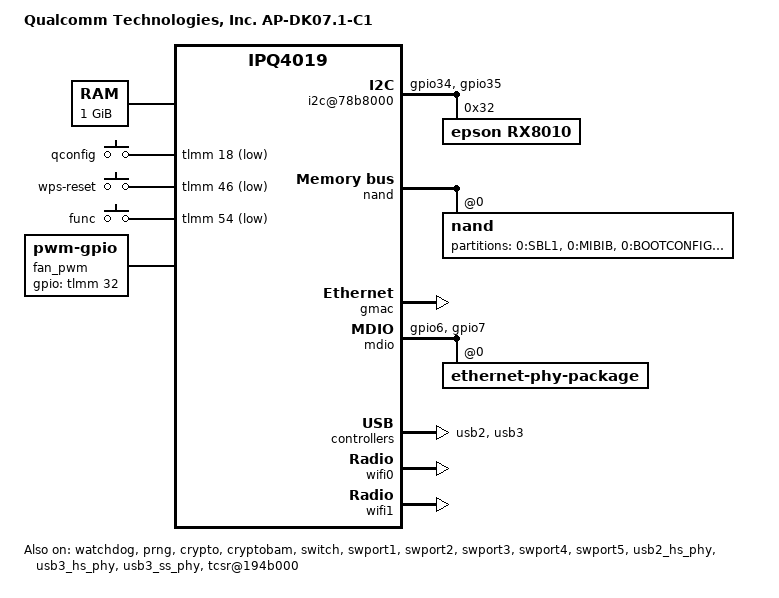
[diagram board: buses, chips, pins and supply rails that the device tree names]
// SPDX-License-Identifier: GPL-2.0-or-later OR MIT
//
// Qualcomm AP-DK07.1-C1 (IPQ4019, 1GB RAM, 256MB NAND)
// Overlay on top of the mainline DK07.1-C1 device tree, based on the
// QCA SDK vendor device tree extracted from the running unit.

#include "qcom-ipq4019-ap.dk07.1-c1.dts"
#include <dt-bindings/gpio/gpio.h>
#include <dt-bindings/input/input.h>
#include <dt-bindings/soc/qcom,tcsr.h>

/ {
	model = "Qualcomm Technologies, Inc. AP-DK07.1-C1";
	compatible = "qcom,ap-dk07.1-c1", "qcom,ipq4019-ap-dk07.1-c1", "qcom,ipq4019";

	memory {
		reg = <0x80000000 0x40000000>; /* 1GB, mainline assumes 512MB */
	};

	soc {
		/*
		 * PCIe is not populated on this unit and the mainline
		 * perst-gpios (GPIO38) conflict with the vendor
		 * func_reset_gpio (GPIO38).
		 */
		pci@40000000 {
			status = "disabled";
		};

		tcsr@1949000 {
			compatible = "qcom,tcsr";
			reg = <0x1949000 0x100>;
			qcom,wifi_glb_cfg = <TCSR_WIFI_GLB_CFG>;
		};

		tcsr@194b000 {
			/* select hostmode */
			compatible = "qcom,tcsr";
			reg = <0x194b000 0x100>;
			qcom,usb-hsphy-mode-select = <TCSR_USB_HSPHY_HOST_MODE>;
			status = "okay";
		};

		ess_tcsr@1953000 {
			compatible = "qcom,tcsr";
			reg = <0x1953000 0x1000>;
			qcom,ess-interface-select = <TCSR_ESS_PSGMII>;
		};

		tcsr@1957000 {
			compatible = "qcom,tcsr";
			reg = <0x1957000 0x100>;
			qcom,wifi_noc_memtype_m0_m2 = <TCSR_WIFI_NOC_MEMTYPE_M0_M2>;
		};

		/* second UART enabled by mainline dk07.1-c1, unused by vendor */
		serial@78b0000 {
			status = "disabled";
		};

		i2c@78b8000 {
			pinctrl-0 = <&i2c_1_pins>;
			pinctrl-names = "default";
			status = "okay";

			rx8010@32 {
				compatible = "epson,rx8010";
				reg = <0x32>;
			};
		};

		keys {
			compatible = "gpio-keys";

			qconfig {
				label = "qconfig";
				gpios = <&tlmm 18 GPIO_ACTIVE_LOW>;
				linux,code = <0x211>; /* vendor keycode */
			};

			wps-reset {
				label = "wps-reset";
				gpios = <&tlmm 46 GPIO_ACTIVE_LOW>;
				linux,code = <0x198>; /* vendor keycode (KEY_WPS_BUTTON) */
			};

			func {
				label = "func";
				gpios = <&tlmm 54 GPIO_ACTIVE_LOW>;
				linux,code = <0x224>; /* vendor keycode */
			};
		};
	};

	/*
	 * 风扇调速。原厂用 SoC audio PWM 驱动 gpio32(audio_pwm2)，
	 * 主线 ipq4019 没有 PWM 驱动，这里用 pwm-gpio 在同一引脚上做软件 PWM，
	 * 由 /usr/sbin/fanctl 写 /sys/class/pwm/.../duty_cycle 控制转速。
	 * pinctrl 默认 output-high：fanctl 起不来时风扇全速，避免过热。
	 */
	fan_pwm: fan-pwm {
		compatible = "pwm-gpio";
		#pwm-cells = <3>;
		pinctrl-names = "default";
		pinctrl-0 = <&fan_pwm_pins>;
		gpios = <&tlmm 32 GPIO_ACTIVE_HIGH>;
	};
};

&tlmm {
	fan_pwm_pins: fan-pwm-pinmux {
		pins = "gpio32";
		function = "gpio";
		drive-strength = <8>;
		bias-disable;
		output-high;
	};

	i2c_1_pins: i2c-1-pinmux {
		pins = "gpio34", "gpio35";
		function = "blsp_i2c1";
		bias-disable;
	};

	mdio_pins: mdio-pinmux {
		mdio {
			pins = "gpio6";
			function = "mdio";
			bias-pull-up;
		};

		mdc {
			pins = "gpio7";
			function = "mdc";
			bias-pull-up;
		};
	};
};

/*
 * NAND partition layout must match the QCA vendor layout / U-Boot.
 *
 * The partitions node has to live inside the controller's NAND chip
 * child node (nand@0, declared in qcom-ipq4019.dtsi). qcom_nandc walks
 * every available child of the controller and reads its "reg" as the
 * chip-select; a bare "partitions" child has no reg, which aborts the
 * whole controller probe with "can't get chip-select" and leaves the
 * system without any MTD device.
 */
&nand {
	nand@0 {
		partitions {
			compatible = "fixed-partitions";
			#address-cells = <1>;
			#size-cells = <1>;

			partition@0 {
				label = "0:SBL1";
				reg = <0x0 0x40000>;
				read-only;
			};

			partition@40000 {
				label = "0:MIBIB";
				reg = <0x40000 0x40000>;
				read-only;
			};

			partition@80000 {
				label = "0:BOOTCONFIG";
				reg = <0x80000 0x40000>;
				read-only;
			};

			partition@c0000 {
				label = "0:BOOTCONFIG1";
				reg = <0xc0000 0x40000>;
				read-only;
			};

			partition@100000 {
				label = "0:QSEE_1";
				reg = <0x100000 0x80000>;
				read-only;
			};

			partition@180000 {
				label = "0:QSEE";
				reg = <0x180000 0x80000>;
				read-only;
			};

			partition@200000 {
				label = "0:CDT_1";
				reg = <0x200000 0x40000>;
				read-only;
			};

			partition@240000 {
				label = "0:CDT";
				reg = <0x240000 0x40000>;
				read-only;
			};

			/*
			 * U-Boot 环境区。上游 DTS 把它标成 read-only，于是内核
			 * （mtd_flags=0x0）拒绝以可写方式打开 /dev/mtd8，fw_setenv
			 * 直接报 Permission denied —— 改 bootcmd 必须先摘掉这个
			 * 标记。节点本身是 0600 root:root，权限仍由 root 控制。
			 */
			partition@280000 {
				label = "0:APPSBLENV";
				reg = <0x280000 0x40000>;
			};

			partition@2c0000 {
				label = "0:ART";
				reg = <0x2c0000 0x40000>;
				read-only;
			};

			partition@300000 {
				label = "0:APPSBL_1";
				reg = <0x300000 0x100000>;
				read-only;
			};

			partition@400000 {
				label = "0:APPSBL";
				reg = <0x400000 0x100000>;
				read-only;
			};

			/* inactive rootfs slot, kept for recovery */
			partition@500000 {
				label = "rootfs_1";
				reg = <0x500000 0x5b00000>;
			};

			/*
			 * UBI 容器：把厂商 rootfs 槽 (0x6000000) 与其后面的 data 槽
			 * (0xbb00000) 合并成一个 159MB 分区。起点必须保持 0x6000000，
			 * 因为 U-Boot 的 bootipq 是 ubi part fs + ubi read kernel 取内核，
			 * 起点变了就找不到 kernel 卷。合并后 rootfs_data 由 63MB 涨到
			 * 约 150MB；厂商放在 data 里的 overlay 会被丢弃。
			 */
			partition@6000000 {
				label = "rootfs";
				reg = <0x6000000 0x9f00000>;
			};

			partition@ff00000 {
				label = "config_user";
				reg = <0xff00000 0x100000>;

				/*
				 * 出厂 MAC 存放处（本机 0x2000 = D0:B6:0A:00:07:8C）。
				 * ART(0:ART) 偏移 0 全是 0xFF、U-Boot 环境里也没有 ethaddr，
				 * 这个 cell 是内核能拿到的唯一真实 MAC。
				 */
				nvmem-layout {
					compatible = "fixed-layout";
					#address-cells = <1>;
					#size-cells = <1>;

					macaddr_config_user: macaddr@2000 {
						reg = <0x2000 0x6>;
					};
				};
			};
		};
	};
};

&blsp_dma {
	status = "okay";
};

&watchdog {
	status = "okay";
};

&prng {
	status = "okay";
};

&crypto {
	status = "okay";
};

&cryptobam {
	status = "okay";
};

/*
 * 内置 5 口交换机。qcom-ipq4019.dtsi 里 gmac / switch / swport1..5 默认全是
 * disabled，不使能则 ipqess 与 qca8k 都不 probe，内核一个以太网接口都不建
 * （只剩 lo 和 phy0-ap0/phy1-ap0），串口里表现为完全没有 eth 或 lan 设备。
 * swport1..4 标签为 lan1..lan4，swport5 标签为 wan，与厂商 bootargs 里
 * switch_wan_bmp=0x20 / switch_lan_bmp=0x1e 的端口划分一致。
 */
&gmac {
	status = "okay";
	/* 真实 MAC 取自 config_user@0x2000，否则 ipqess 会自己造随机地址 */
	nvmem-cells = <&macaddr_config_user>;
	nvmem-cell-names = "mac-address";
};

&switch {
	status = "okay";
};

&swport1 {
	status = "okay";
};

&swport2 {
	status = "okay";
};

&swport3 {
	status = "okay";
};

&swport4 {
	status = "okay";
};

&swport5 {
	status = "okay";
};

/*
 * 交换机 5 个口的 PHY（ethphy0..4）和 PSGMII PHY（psgmiiphy）都挂在
 * mdio 总线下面，mdio 不使能的话端口拿不到 phy-handle。
 *
 * ethphy0..4 是 QCA8075，每个 PHY 有 4 个专用 LED 输出脚（最多驱动 2 颗
 * LED）。主线 qca807x 驱动只有在 PHY 节点下有 "leds" 子节点时才会去写
 * MMD7 的 LED 控制寄存器（0x8074/0x8075 + index*2），没有子节点就完全不
 * 碰这些寄存器 —— 这就是 RJ45 指示灯一直不亮的原因。reg 是 PHY 上的 LED
 * 序号（0/1），若发现点亮的不是想要的灯（如亮成速率灯而不是 link 灯），
 * 把 reg 改成 <1> 即可。
 *
 * 注册出来的 LED 名带 mdio 设备名前缀，即
 * 90000.mdio-1:00:lan1 ... :03:lan4 / :04:wan（前缀是 PHY 的 mdio 设备名，
 * 内核 6.12 的 phy_led 强制要求 devicename = dev_name(&phydev->mdio.dev)）。
 * 驱动只在有 trigger 时才写 LED 寄存器，所以还必须由用户态给这些 LED 挂上
 * netdev trigger —— 由 /etc/init.d/phyleds（S97）在每次启动时完成。
 */
&mdio {
	pinctrl-0 = <&mdio_pins>;
	pinctrl-names = "default";
	status = "okay";

	ethernet-phy-package@0 {
		ethernet-phy@0 {
			leds {
				#address-cells = <1>;
				#size-cells = <0>;

				led@0 {
					reg = <0>;
					label = "lan1";
				};
			};
		};

		ethernet-phy@1 {
			leds {
				#address-cells = <1>;
				#size-cells = <0>;

				led@0 {
					reg = <0>;
					label = "lan2";
				};
			};
		};

		ethernet-phy@2 {
			leds {
				#address-cells = <1>;
				#size-cells = <0>;

				led@0 {
					reg = <0>;
					label = "lan3";
				};
			};
		};

		ethernet-phy@3 {
			leds {
				#address-cells = <1>;
				#size-cells = <0>;

				led@0 {
					reg = <0>;
					label = "lan4";
				};
			};
		};

		ethernet-phy@4 {
			leds {
				#address-cells = <1>;
				#size-cells = <0>;

				led@0 {
					reg = <0>;
					label = "wan";
				};
			};
		};
	};
};

&usb2 {
	status = "okay";
};

&usb2_hs_phy {
	status = "okay";
};

&usb3 {
	status = "okay";
};

&usb3_hs_phy {
	status = "okay";
};

&usb3_ss_phy {
	status = "okay";
};

&wifi0 {
	status = "okay";
};

&wifi1 {
	status = "okay";
};
